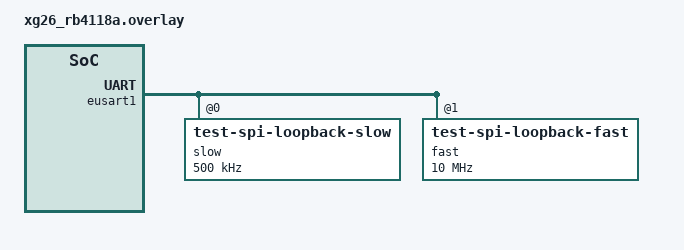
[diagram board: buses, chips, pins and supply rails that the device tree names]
/*
 * Copyright (c) 2025 Silicon Laboratories Inc.
 *
 * SPDX-License-Identifier: Apache-2.0
 */

#include <zephyr/dt-bindings/pinctrl/silabs/xg26-pinctrl.h>

&pinctrl {
	eusart1_default: eusart1_default {
		group0 {
			pins = <EUSART1_TX_PD7>, <EUSART1_SCLK_PD9>;
			drive-push-pull;
			output-high;
		};

		group1 {
			pins = <EUSART1_RX_PB5>;
			input-enable;
		};
	};
};

&eusart1 {
	dmas = <&dma0 DMA_REQSEL_EUSART1TXFL>,
	       <&dma0 DMA_REQSEL_EUSART1RXFL>;
	dma-names = "tx", "rx";
	#address-cells = <1>;
	#size-cells = <0>;
	pinctrl-0 = <&eusart1_default>;
	pinctrl-names = "default";
	status = "okay";
	cs-gpios = <&gpiod 10 GPIO_ACTIVE_LOW>;

	slow@0 {
		compatible = "test-spi-loopback-slow";
		reg = <0>;
		spi-max-frequency = <500000>;
	};

	fast@1 {
		compatible = "test-spi-loopback-fast";
		reg = <1>;
		spi-max-frequency = <10000000>;
	};
};

&dma0 {
	status = "okay";
};
